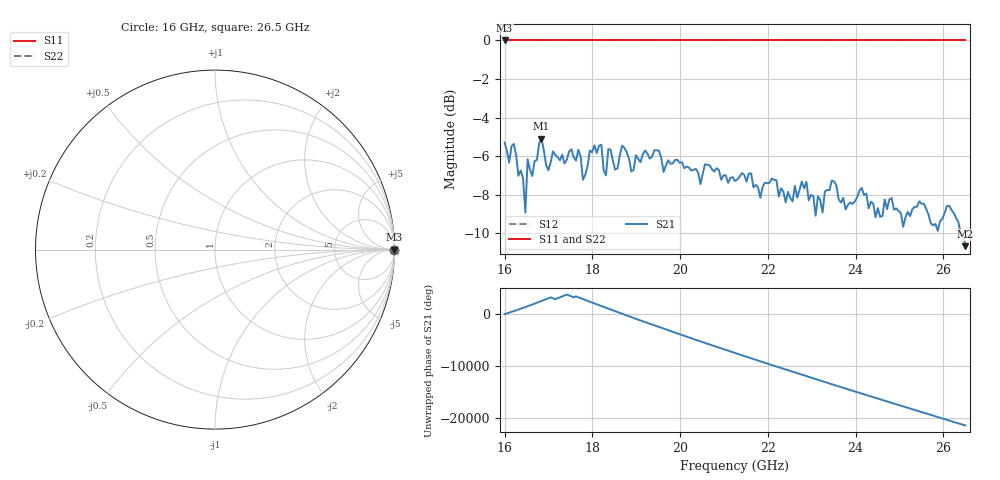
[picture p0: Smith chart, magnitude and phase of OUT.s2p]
!Agilent N9918A: A.07.57
!Date: Thursday, 05 September 2019 10:37:12
!Timezone: (GMT-08:00) Pacific Time (US & Canada)
!Model: N9918A
!Serial: MY53103598
!GPS Latitude:
!GPS Longitude:
!GPS TimeStamp: 0001-01-01 00:00:00Z
!GPS Seconds Since Last Read: 0
!CHECKSUM:0675992618
!Correction: S11()S21(Rdy)S12()S22()
!S2P File: Measurements:S11,S21,S12,S22:
# Hz S DB R 50
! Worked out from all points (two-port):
!   201 points, 16 GHz to 26.5 GHz, reference 50 ohm
!   highest |S21| = -5.10 dB at 16.84 GHz (marker M1); lowest = -10.7 dB at 26.5 GHz (marker M2)
!   |S21| within 3 dB of the highest: 16.49 GHz to 21.82 GHz (5.333 GHz wide, 27.8 % of centre); 21.83 GHz to 22.38 GHz (543.3 MHz wide, 2.46 % of centre)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
!   lowest |S11| = 0.0 dB at 16 GHz (marker M3)
!   |S11| at or under -10 dB: nowhere
!   |S22| runs from 0.0 to 0.0 dB; largest |S21 - S12| = 1.5
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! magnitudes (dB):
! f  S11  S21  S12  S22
! 16 GHz  0.0  -5.3  0.0  0.0
! 16.21 GHz  0.0  -5.4  0.0  0.0
! 16.42 GHz  0.0  -7.1  0.0  0.0
! 16.47 GHz  0.0  -8.9  0.0  0.0
! 16.52 GHz  0.0  -6.2  0.0  0.0
! 16.63 GHz  0.0  -7.0  0.0  0.0
! 16.84 GHz  0.0  -5.1  0.0  0.0
! 17 GHz  0.0  -6.7  0.0  0.0
! 17.68 GHz  0.0  -5.7  0.0  0.0
! 17.79 GHz  0.0  -7.2  0.0  0.0
! 18.05 GHz  0.0  -5.4  0.0  0.0
! 18.31 GHz  0.0  -7.0  0.0  0.0
! 18.36 GHz  0.0  -5.6  0.0  0.0
! 18.89 GHz  0.0  -6.8  0.0  0.0
! 19.52 GHz  0.0  -5.7  0.0  0.0
! 19.62 GHz  0.0  -6.8  0.0  0.0
! 21.25 GHz  0.0  -7.3  0.0  0.0
! 23.04 GHz  0.0  -8.1  0.0  0.0
! 24.77 GHz  0.0  -8.2  0.0  0.0
! 25.87 GHz  0.0  -9.9  0.0  0.0
! 26.13 GHz  0.0  -8.6  0.0  0.0
! 26.5 GHz  0.0  -10.7  0.0  0.0
